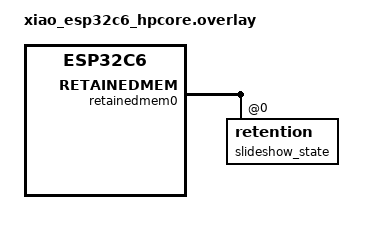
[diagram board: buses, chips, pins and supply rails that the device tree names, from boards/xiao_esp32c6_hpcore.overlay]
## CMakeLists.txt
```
# SPDX-License-Identifier: Apache-2.0

cmake_minimum_required(VERSION 3.20.0)

find_package(Zephyr REQUIRED HINTS $ENV{ZEPHYR_BASE})
project(minimal_eink_display)

target_sources(app PRIVATE src/main.c)
```

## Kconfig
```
# SPDX-License-Identifier: Apache-2.0

menu "Slideshow application"

config APP_SLIDE_INTERVAL_SEC
	int "Time each picture is shown, in seconds"
	default 300
	range 5 86400

config APP_DEEP_SLEEP
	bool "Power off between pictures"
	default y
	depends on TIMED_POWEROFF
	help
	  Power the SoC off after each refresh and wake it with a timer for
	  the next picture. Disable to stay awake instead, which keeps the
	  USB console connected while debugging.

endmenu

source "Kconfig.zephyr"
```

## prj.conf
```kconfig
# Display
CONFIG_DISPLAY=y

# Pictures embedded in the firmware
CONFIG_IMAGE_PACK=y

# Power off between pictures, position kept in retained memory
CONFIG_TIMED_POWEROFF=y
CONFIG_RETAINED_MEM=y
CONFIG_RETENTION=y

# Position also kept in flash, to survive a full power loss
CONFIG_FLASH=y
CONFIG_FLASH_MAP=y
CONFIG_FLASH_PAGE_LAYOUT=y
CONFIG_NVS=y

# Slideshow settings
CONFIG_APP_SLIDE_INTERVAL_SEC=300

CONFIG_LOG=y
# Messages must be out before the SoC powers off
CONFIG_LOG_MODE_IMMEDIATE=y

# Scale whole picture to fit, pad with white
CONFIG_IMAGE_PACK_FIT_CONTAIN=y
```

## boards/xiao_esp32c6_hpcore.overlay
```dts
/*
 * SPDX-License-Identifier: Apache-2.0
 *
 * Slideshow position, kept in LP RAM so it survives deep sleep.
 */

/ {
	aliases {
		slideshow-state = &slideshow_state;
	};
};

&retainedmem0 {
	slideshow_state: retention@0 {
		compatible = "zephyr,retention";
		status = "okay";
		reg = <0x0 0x10>;
		prefix = [45 49];
		checksum = <2>;
	};
};
```

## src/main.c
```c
/*
 * SPDX-License-Identifier: Apache-2.0
 *
 * Slideshow: show the next stored picture, then wait for the configured
 * interval, either powered off or asleep in this thread.
 */

#include <errno.h>
#include <stdbool.h>
#include <stdint.h>
#include <string.h>

#include <zephyr/device.h>
#include <zephyr/devicetree.h>
#include <zephyr/drivers/display.h>
#include <zephyr/drivers/flash.h>
#include <zephyr/drivers/gpio.h>
#include <zephyr/fs/nvs.h>
#include <zephyr/storage/flash_map.h>
#include <zephyr/kernel.h>
#include <zephyr/logging/log.h>
#include <zephyr/retention/retention.h>
#include <zephyr/sys/util.h>

#include <eink/image_pack.h>
#include <eink/timed_poweroff.h>

LOG_MODULE_REGISTER(app, LOG_LEVEL_INF);

#define FRAME_STRIDE DIV_ROUND_UP(CONFIG_IMAGE_PACK_WIDTH * CONFIG_IMAGE_PACK_BPP, 8)
#define FRAME_SIZE   (FRAME_STRIDE * CONFIG_IMAGE_PACK_HEIGHT)

static const struct device *const display = DEVICE_DT_GET(DT_CHOSEN(zephyr_display));

static uint8_t frame[FRAME_SIZE];

/*
 * The ssd16xx driver starts a refresh and returns while the panel is still
 * busy. The panel must not lose its controller mid-refresh, so wait on its
 * busy line before powering off. Other drivers return when they are done.
 */
#define REFRESH_START_MS   100
#define REFRESH_POLL_MS    20
#define REFRESH_TIMEOUT_MS 30000

static const struct gpio_dt_spec busy =
	GPIO_DT_SPEC_GET_OR(DT_CHOSEN(zephyr_display), busy_gpios, {0});

static void wait_refresh_done(void)
{
	int64_t end = k_uptime_get() + REFRESH_TIMEOUT_MS;

	if (!IS_ENABLED(CONFIG_SSD16XX) || busy.port == NULL) {
		return;
	}

	k_msleep(REFRESH_START_MS);

	while (gpio_pin_get_dt(&busy) > 0) {
		if (k_uptime_get() > end) {
			LOG_WRN("Display still busy after %d ms", REFRESH_TIMEOUT_MS);
			return;
		}
		k_msleep(REFRESH_POLL_MS);
	}
}

/*
 * Position in the slideshow. Two copies are kept:
 *  - a "slideshow-state" retention area (LP RAM) that survives the power-off
 *    between pictures without any flash wear, and
 *  - a flash copy in the storage partition, which also survives a full power
 *    loss. It is only read when the retention area is invalid.
 * Either may be absent on a given board; the position then only lives in the
 * other one, or in RAM.
 */
static uint32_t ram_index;

#if DT_HAS_ALIAS(slideshow_state)
static const struct device *const state_dev = DEVICE_DT_GET(DT_ALIAS(slideshow_state));

static bool retention_load(uint32_t *index)
{
	return device_is_ready(state_dev) && retention_is_valid(state_dev) == 1 &&
	       retention_read(state_dev, 0, (uint8_t *)index, sizeof(*index)) == 0;
}

static void retention_save(uint32_t index)
{
	int err = retention_write(state_dev, 0, (const uint8_t *)&index, sizeof(index));

	if (err != 0) {
		LOG_WRN("Could not save slideshow position (%d)", err);
	}
}
#else
static bool retention_load(uint32_t *index)
{
	return false;
}

static void retention_save(uint32_t index)
{
}
#endif

#if CONFIG_NVS && FIXED_PARTITION_EXISTS(storage_partition)
#define STATE_NVS_ID 1

static struct nvs_fs nvs = {
	.flash_device = FIXED_PARTITION_DEVICE(storage_partition),
	.offset = FIXED_PARTITION_OFFSET(storage_partition),
};
static bool nvs_ok;

static void nvs_state_init(void)
{
	struct flash_pages_info page;
	int err;

	if (!device_is_ready(nvs.flash_device)) {
		LOG_WRN("Flash is not ready, position is not kept across power loss");
		return;
	}

	err = flash_get_page_info_by_offs(nvs.flash_device, nvs.offset, &page);
	if (err != 0) {
		LOG_WRN("Could not get flash page info (%d)", err);
		return;
	}

	nvs.sector_size = page.size;
	nvs.sector_count = FIXED_PARTITION_SIZE(storage_partition) / page.size;

	err = nvs_mount(&nvs);
	if (err != 0) {
		LOG_WRN("Could not mount storage (%d), position is not kept across power loss",
			err);
		return;
	}

	nvs_ok = true;
}

static bool nvs_load(uint32_t *index)
{
	return nvs_ok && nvs_read(&nvs, STATE_NVS_ID, index, sizeof(*index)) == sizeof(*index);
}

static void nvs_save(uint32_t index)
{
	int err;

	if (!nvs_ok) {
		return;
	}

	/* NVS skips the write when the stored value is identical. */
	err = nvs_write(&nvs, STATE_NVS_ID, &index, sizeof(index));
	if (err < 0) {
		LOG_WRN("Could not store slideshow position in flash (%d)", err);
	}
}
#else
static void nvs_state_init(void)
{
}

static bool nvs_load(uint32_t *index)
{
	return false;
}

static void nvs_save(uint32_t index)
{
}
#endif

static uint32_t state_load(void)
{
	uint32_t index;

	if (retention_load(&index) || nvs_load(&index)) {
		return index;
	}

	return ram_index;
}

static void state_save(uint32_t index)
{
	ram_index = index;
	retention_save(index);
	nvs_save(index);
}

/* Monochrome picture: one write of the whole frame. */
static int write_mono(const struct display_capabilities *caps)
{
	const struct display_buffer_descriptor desc = {
		.buf_size = sizeof(frame),
		.width = CONFIG_IMAGE_PACK_WIDTH,
		.height = CONFIG_IMAGE_PACK_HEIGHT,
		.pitch = CONFIG_IMAGE_PACK_WIDTH,
	};

	/* Pictures are stored row by row, MSB first, 1 = white. */
	if ((caps->screen_info & SCREEN_INFO_MONO_VTILED) != 0 ||
	    (caps->screen_info & SCREEN_INFO_MONO_MSB_FIRST) == 0) {
		LOG_ERR("Display bit layout is not supported");
		return -ENOTSUP;
	}

	if (caps->current_pixel_format == PIXEL_FORMAT_MONO10) {
		for (size_t i = 0; i < sizeof(frame); i++) {
			frame[i] = ~frame[i];
		}
	} else if (caps->current_pixel_format != PIXEL_FORMAT_MONO01) {
		LOG_ERR("Display is not monochrome");
		return -ENOTSUP;
	}

	return display_write(display, 0, 0, &desc, frame);
}

/*
 * Colour picture: stored at 2 bits per pixel, written a row at a time in the
 * display's 4-bit indexed format. The stored values are the palette indices
 * of the display.
 */
static int write_indexed(const struct display_capabilities *caps)
{
	static uint8_t row[DIV_ROUND_UP(CONFIG_IMAGE_PACK_WIDTH, 2)];
	const struct display_buffer_descriptor desc = {
		.buf_size = sizeof(row),
		.width = CONFIG_IMAGE_PACK_WIDTH,
		.height = 1,
		.pitch = CONFIG_IMAGE_PACK_WIDTH,
	};

	if (caps->current_pixel_format != PIXEL_FORMAT_I_4) {
		LOG_ERR("Display does not take indexed colour");
		return -ENOTSUP;
	}

	for (uint16_t y = 0; y < CONFIG_IMAGE_PACK_HEIGHT; y++) {
		const uint8_t *src = &frame[y * FRAME_STRIDE];
		int err;

		memset(row, 0, sizeof(row));
		for (uint16_t x = 0; x < CONFIG_IMAGE_PACK_WIDTH; x++) {
			uint8_t index = (src[x / 4] >> (6 - 2 * (x % 4))) & 0x3;

			row[x / 2] |= index << ((x & 1) ? 0 : 4);
		}

		err = display_write(display, 0, y, &desc, row);
		if (err != 0) {
			return err;
		}
	}

	return 0;
}

static int show_picture(uint16_t index)
{
	struct display_capabilities caps;
	int err;

	err = image_pack_decode(index, frame, sizeof(frame));
	if (err != 0) {
		LOG_ERR("Could not decode picture %u (%d)", index, err);
		return err;
	}

	display_get_capabilities(display, &caps);

	/* Write with blanking on so that turning it off does one full refresh. */
	err = display_blanking_on(display);
	if (err != 0 && err != -ENOSYS) {
		return err;
	}

	err = (CONFIG_IMAGE_PACK_BPP == 1) ? write_mono(&caps) : write_indexed(&caps);
	if (err != 0) {
		LOG_ERR("Could not write to the display (%d)", err);
		return err;
	}

	err = display_blanking_off(display);
	if (err != 0 && err != -ENOSYS) {
		LOG_ERR("Display refresh failed (%d)", err);
		return err;
	}

	wait_refresh_done();

	return 0;
}

int main(void)
{
	struct image_pack_info info;
	int err;

	if (!device_is_ready(display)) {
		LOG_ERR("Display is not ready");
		return 0;
	}

	err = image_pack_get_info(&info);
	if (err != 0 || info.count == 0) {
		LOG_ERR("No usable pictures in the firmware (%d)", err);
		return 0;
	}

	if (info.width != CONFIG_IMAGE_PACK_WIDTH || info.height != CONFIG_IMAGE_PACK_HEIGHT ||
	    info.bpp != CONFIG_IMAGE_PACK_BPP) {
		LOG_ERR("Pictures are %ux%u at %u bpp, expected %dx%d at %d bpp", info.width,
			info.height, info.bpp, CONFIG_IMAGE_PACK_WIDTH, CONFIG_IMAGE_PACK_HEIGHT,
			CONFIG_IMAGE_PACK_BPP);
		return 0;
	}

	nvs_state_init();

	while (true) {
		uint32_t index = state_load() % info.count;

		LOG_INF("Showing picture %u of %u", index + 1, info.count);
		(void)show_picture(index);

		state_save((index + 1) % info.count);

		if (IS_ENABLED(CONFIG_APP_DEEP_SLEEP)) {
			LOG_INF("Powering off for %d s", CONFIG_APP_SLIDE_INTERVAL_SEC);
			err = timed_poweroff(CONFIG_APP_SLIDE_INTERVAL_SEC);
			LOG_ERR("Power-off failed (%d), staying awake", err);
		}

		k_sleep(K_SECONDS(CONFIG_APP_SLIDE_INTERVAL_SEC));
	}

	return 0;
}
```
